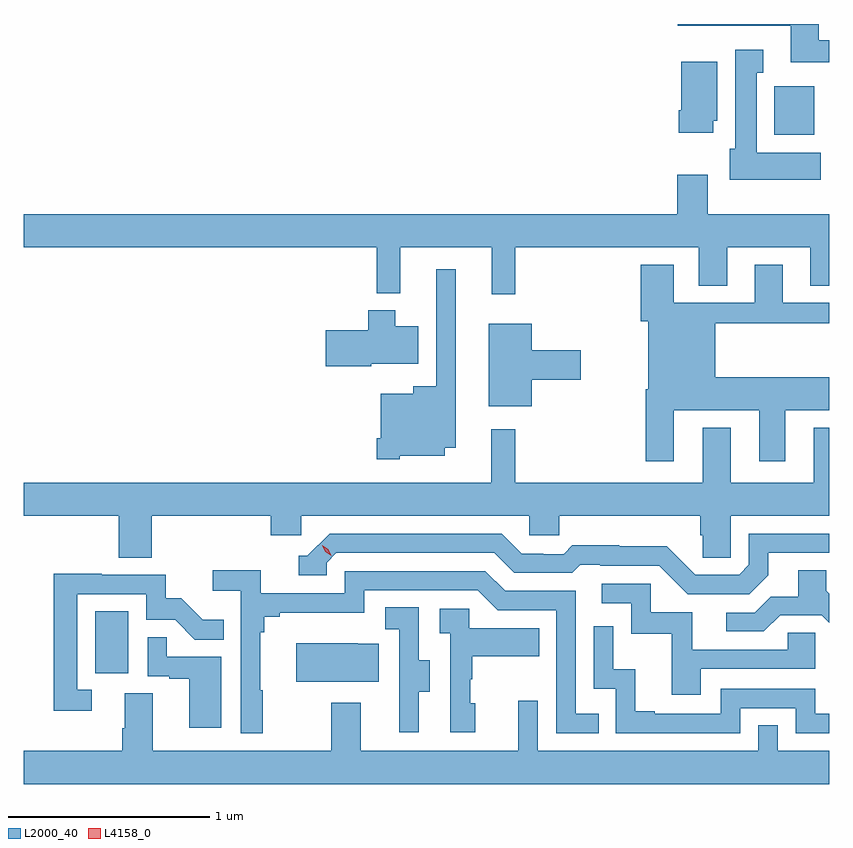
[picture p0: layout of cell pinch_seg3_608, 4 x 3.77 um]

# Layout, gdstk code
import gdstk
lib = gdstk.Library(unit=1e-6, precision=1e-09)
def R(c, l, rs):  # rectangles x0, y0, x1, y1
    for r in rs: c.add(gdstk.rectangle(r[:2], r[2:], *l))
def P(c, l, *ps):  # polygons
    for p in ps: c.add(gdstk.Polygon(p, *l))
L2000_40 = (2000, 40)
L4158_0 = (4158, 0)

pinch_seg3_608 = lib.new_cell('pinch_seg3_608')
R(pinch_seg3_608, L2000_40, [(1021.796,700.134,1021.96,700.441), (1025.168,702.806,1025.365,703.048)])
P(pinch_seg3_608, L2000_40, [(1025.441,703.276),(1025.389,703.276),(1025.389,703.356),(1024.689,703.356),(1024.689,703.347),(1025.249,703.347),(1025.249,703.166),(1025.441,703.166)],
  [(1025.398,702.718),(1025.08,702.718),(1025.08,703.115),(1025.113,703.115),(1025.113,703.228),(1024.973,703.228),(1024.973,702.738),(1024.946,702.738),(1024.946,702.584),(1025.398,702.584)],
  [(1024.864,702.876),(1024.885,702.876),(1024.885,703.168),(1024.706,703.168),(1024.706,702.928),(1024.694,702.928),(1024.694,702.816),(1024.864,702.816)],
  [(1023.881,702.248),(1024.793,702.248),(1024.793,702.058),(1024.933,702.058),(1024.933,702.248),(1025.345,702.248),(1025.345,702.058),(1025.441,702.058),(1025.441,702.412),(1024.837,702.412),(1024.837,702.607),(1024.685,702.607),(1024.685,702.412),(1021.441,702.412),(1021.441,702.248),(1023.193,702.248),(1023.193,702.02),(1023.311,702.02),(1023.311,702.248),(1023.764,702.248),(1023.764,702.015),(1023.881,702.015)],
  [(1024.669,701.438),(1025.093,701.438),(1025.093,701.187),(1025.221,701.187),(1025.221,701.438),(1025.441,701.438),(1025.441,701.602),(1024.873,701.602),(1024.873,701.872),(1025.441,701.872),(1025.441,701.973),(1025.209,701.973),(1025.209,702.16),(1025.069,702.16),(1025.069,701.973),(1024.669,701.973),(1024.669,702.16),(1024.505,702.16),(1024.505,701.88),(1024.541,701.88),(1024.541,701.542),(1024.529,701.542),(1024.529,701.187),(1024.669,701.187)],
  [(1023.309,701.213),(1023.532,701.213),(1023.532,701.252),(1023.586,701.252),(1023.586,702.139),(1023.489,702.139),(1023.489,701.557),(1023.374,701.557),(1023.374,701.521),(1023.215,701.521),(1023.215,701.299),(1023.194,701.299),(1023.194,701.195),(1023.309,701.195)],
  [(1023.168,701.669),(1023.4,701.669),(1023.4,701.857),(1023.286,701.857),(1023.286,701.935),(1023.152,701.935),(1023.152,701.835),(1022.94,701.835),(1022.94,701.657),(1023.168,701.657)],
  [(1023.964,701.591),(1024.207,701.591),(1024.207,701.738),(1023.964,701.738),(1023.964,701.869),(1023.749,701.869),(1023.749,701.459),(1023.964,701.459)],
  [(1022.078,700.916),(1022.669,700.916),(1022.669,700.818),(1022.82,700.818),(1022.82,700.916),(1023.951,700.916),(1023.951,700.818),(1024.101,700.818),(1024.101,700.916),(1024.799,700.916),(1024.799,700.818),(1024.813,700.818),(1024.813,700.708),(1024.95,700.708),(1024.95,700.916),(1025.441,700.916),(1025.441,701.353),(1025.363,701.353),(1025.363,701.08),(1024.951,701.08),(1024.951,701.353),(1024.811,701.353),(1024.811,701.08),(1023.881,701.08),(1023.881,701.344),(1023.763,701.344),(1023.763,701.08),(1021.441,701.08),(1021.441,700.916),(1021.913,700.916),(1021.913,700.708),(1022.078,700.708)],
  [(1025.137,700.621),(1025.137,700.731),(1025.441,700.731),(1025.441,700.827),(1025.04,700.827),(1025.04,700.671),(1024.992,700.623),(1024.776,700.623),(1024.634,700.765),(1024.398,700.765),(1024.398,700.768),(1024.165,700.768),(1024.123,700.725),(1024.02,700.725),(1024.02,700.728),(1023.913,700.728),(1023.814,700.827),(1022.961,700.827),(1022.85,700.716),(1022.807,700.716),(1022.807,700.62),(1022.946,700.62),(1022.946,700.683),(1022.994,700.731),(1023.777,700.731),(1023.876,700.632),(1024.165,700.632),(1024.204,700.671),(1024.303,700.671),(1024.303,700.668),(1024.596,700.668),(1024.737,700.527),(1025.043,700.527)],
  [(1022.629,700.049),(1022.617,700.049),(1022.617,700.337),(1022.636,700.337),(1022.636,700.414),(1022.713,700.414),(1022.713,700.433),(1023.132,700.433),(1023.132,700.545),(1023.696,700.545),(1023.795,700.446),(1024.086,700.446),(1024.086,699.837),(1024.295,699.837),(1024.295,699.933),(1024.182,699.933),(1024.182,700.542),(1023.832,700.542),(1023.733,700.641),(1023.036,700.641),(1023.036,700.53),(1022.618,700.53),(1022.618,700.646),(1022.379,700.646),(1022.379,700.544),(1022.52,700.544),(1022.52,699.837),(1022.629,699.837)],
  [(1025.197,700.422),(1025.403,700.422),(1025.441,700.384),(1025.441,700.528),(1025.425,700.544),(1025.425,700.646),(1025.285,700.646),(1025.285,700.514),(1025.15,700.514),(1025.07,700.434),(1024.929,700.434),(1024.929,700.341),(1025.116,700.341)],
  [(1021.78,700.053),(1021.707,700.053),(1021.707,700.527),(1022.049,700.527),(1022.049,700.398),(1022.193,700.398),(1022.291,700.3),(1022.435,700.3),(1022.435,700.399),(1022.331,700.399),(1022.224,700.506),(1022.148,700.506),(1022.148,700.623),(1021.829,700.623),(1021.829,700.628),(1021.591,700.628),(1021.591,699.948),(1021.78,699.948)],
  [(1024.801,700.155),(1025.37,700.155),(1025.37,700.335),(1025.233,700.335),(1025.233,700.251),(1024.759,700.251),(1024.759,700.437),(1024.554,700.437),(1024.554,700.578),(1024.311,700.578),(1024.311,700.482),(1024.458,700.482),(1024.458,700.329),(1024.657,700.329),(1024.657,700.026),(1024.801,700.026)],
  [(1023.403,700.042),(1023.457,700.042),(1023.457,700.197),(1023.402,700.197),(1023.402,700.46),(1023.237,700.46),(1023.237,700.353),(1023.306,700.353),(1023.306,700.053),(1023.305,700.053),(1023.305,699.84),(1023.403,699.84)],
  [(1023.682,699.984),(1023.657,699.984),(1023.657,700.103),(1023.667,700.103),(1023.667,700.217),(1024.001,700.217),(1024.001,700.357),(1023.654,700.357),(1023.654,700.455),(1023.507,700.455),(1023.507,700.331),(1023.558,700.331),(1023.558,699.84),(1023.682,699.84)],
  [(1024.998,699.96),(1025.274,699.96),(1025.274,699.837),(1025.441,699.837),(1025.441,699.933),(1025.37,699.933),(1025.37,700.056),(1024.902,700.056),(1024.902,699.933),(1024.573,699.933),(1024.573,699.946),(1024.478,699.946),(1024.478,700.154),(1024.368,700.154),(1024.368,700.366),(1024.272,700.366),(1024.272,700.056),(1024.38,700.056),(1024.38,699.837),(1024.998,699.837)],
  [(1022.422,700.215),(1022.153,700.215),(1022.153,700.313),(1022.058,700.313),(1022.058,700.119),(1022.165,700.119),(1022.165,700.107),(1022.264,700.107),(1022.264,699.864),(1022.422,699.864)],
  [(1023.203,700.279),(1023.101,700.279),(1023.101,700.282),(1022.795,700.282),(1022.795,700.091),(1023.203,700.091)],
  [(1025.441,699.748),(1025.184,699.748),(1025.184,699.875),(1025.088,699.875),(1025.088,699.748),(1023.993,699.748),(1023.993,699.997),(1023.896,699.997),(1023.896,699.748),(1023.115,699.748),(1023.115,699.988),(1022.968,699.988),(1022.968,699.748),(1022.083,699.748),(1022.083,700.034),(1021.943,700.034),(1021.943,699.86),(1021.931,699.86),(1021.931,699.748),(1021.441,699.748),(1021.441,699.584),(1025.441,699.584)])
P(pinch_seg3_608, L4158_0, [(1022.969,700.716),(1022.939,700.736),(1022.923,700.77),(1022.923,700.77),(1022.924,700.77),(1022.954,700.749),(1022.969,700.716),(1022.969,700.716)])

lib.write_gds('pinch_seg3_608.gds')
